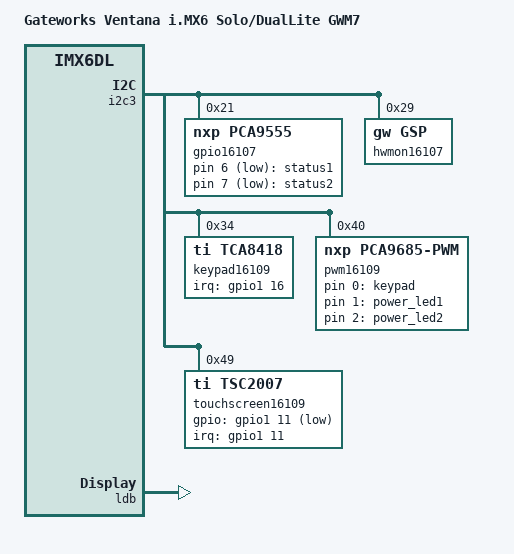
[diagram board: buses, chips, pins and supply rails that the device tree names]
/*
 * Copyright 2013-2014 Gateworks Corporation
 *
 * The code contained herein is licensed under the GNU General Public
 * License. You may obtain a copy of the GNU General Public License
 * Version 2 or later at the following locations:
 *
 * http://www.opensource.org/licenses/gpl-license.html
 * http://www.gnu.org/copyleft/gpl.html
 */

/dts-v1/;

#include "imx6dl.dtsi"
#include "imx6qdl-gw52xx.dtsi"

/ {
	model = "Gateworks Ventana i.MX6 Solo/DualLite GWM7";
	compatible = "gw,imx6dl-gw52xx", "gw,ventana", "fsl,imx6dl";

	leds {
		compatible = "gpio-leds";

		led4: status1 {
			label = "status1";
			gpios = <&gpio16107 6 GPIO_ACTIVE_LOW>;
			default-state = "off";
		};

		led5: status2 {
			label = "status2";
			gpios = <&gpio16107 7 GPIO_ACTIVE_LOW>;
			default-state = "off";
		};
	};

	pwmleds {
		compatible = "pwm-leds";

		kpad {
			label = "keypad";
			pwms = <&pwm16109 0 7812500>;
			max-brightness = <255>;
		};

		power_led1 {
			label = "power_led1";
			pwms = <&pwm16109 1 7812500>;
			max-brightness = <255>;
			active-low;
		};

		power_led2 {
			label = "power_led2";
			pwms = <&pwm16109 2 7812500>;
			max-brightness = <255>;
			active-low;
		};
	};
};

/* /dev/video0: IPU1_CSI1 - Analog in via ADV7180 */
&cap0 {
	ipu_id = <0>;
	csi_id = <1>;
};

&i2c3 {
	gpio16107: pca9555@21 {
		compatible = "nxp,pca9555";
		reg = <0x21>;
		gpio-controller;
		#gpio-cells = <2>;
	};

	hwmon16107: gsc@29 {
		compatible = "gw,gsp";
		reg = <0x29>;
	};

	keypad16109: tca8418@34 {
		compatible = "ti,tca8418";
		pinctrl-names = "default";
		pinctrl-0 = <&pinctrl_tca8418>;
		reg = <0x34>;
		interrupt-parent = <&gpio1>;
		interrupts = <16 IRQ_TYPE_EDGE_FALLING>;
		linux,keymap = <0x00010100	/* BTN_0 HOME */
			        0x00000101	/* BTN_1 MENU */
			        0x01010102	/* BTN_2 ESCAPE */
			        0x01000103	/* BTN_3 BACK */
			        0x02000104	/* BTN_4 SEARCH */
			        0x00030105	/* BTN_5 UP */
			        0x00020106	/* BTN_6 RIGHT */
			        0x01030107	/* BTN_7 LEFT */
			        0x01020108	/* BTN_8 DOWN */
			        0x02020109>;	/* BTN_9 ENTER */
		keypad,num-rows = <3>;
		keypad,num-columns = <4>;
	};

	pwm16109: pca9685@40 {
		compatible = "nxp,pca9685-pwm";
		#pwm-cells = <2>;
		reg = <0x40>;
	};

	touchscreen16109: tsc2007@49 {
		compatible = "ti,tsc2007";
		reg = <0x49>;
		pinctrl-names = "default";
		pinctrl-0 = <&pinctrl_tsc2007>;
		interrupt-parent = <&gpio1>;
		interrupts = <11 IRQ_TYPE_EDGE_FALLING>;
		gpios = <&gpio1 11 GPIO_ACTIVE_LOW>;
		ti,x-plate-ohms = <400>;
		linux,wakeup;
	};
};

&iomuxc {
	hog {
		pinctrl_tsc2007: tsc2007 {
			fsl,pins = <
				MX6QDL_PAD_SD2_CMD__GPIO1_IO11    0x0001b0b0
			>;
		};

		pinctrl_tca8418: tca8418 {
			fsl,pins = <
				MX6QDL_PAD_SD1_DAT0__GPIO1_IO16   0x0001b0b0
			>;
		};
	};
};

&ldb {
	status = "okay";

	lvds-channel@0 {
		fsl,data-mapping = "spwg";
		fsl,data-width = <18>;
		crtc = "ipu1-di0";
		status = "okay";
		primary;

		display-timings {
			native-mode = <&timing0>;
			timing0: hsd100pxn1 {
				clock-frequency = <65000000>;
				hactive = <800>;
				vactive = <480>;
				hback-porch = <40>;
				hfront-porch = <40>;
				vback-porch = <10>;
				vfront-porch = <3>;
				hsync-len = <80>;
				vsync-len = <10>;
			};
		};
	};
};

/* Analog VideoIn IPU1_CSI1 */
&videoin {
	pinctrl-names = "default";
	pinctrl-0 = <&pinctrl_ipu1_5>; /* IPU1_CSI1 8bit */
	/* ipu_id/csi_id used to match up with v4l2_cap_<n> */
	ipu_id = <0>;
	csi_id = <1>;
};
